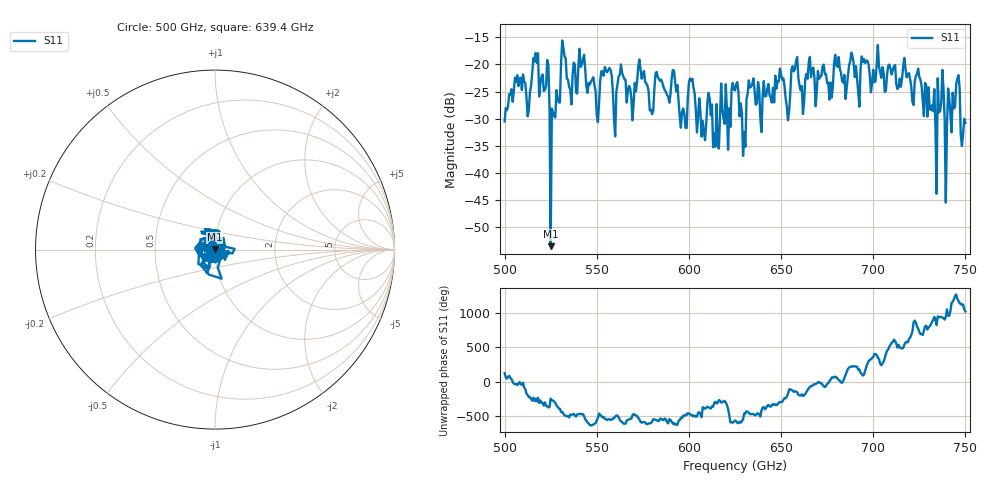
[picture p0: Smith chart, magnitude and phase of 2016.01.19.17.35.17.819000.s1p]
!Created with skrf (http://scikit-rf.org).
# GHz S RI R 50.0
!freq ReS11 ImS11
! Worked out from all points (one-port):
!   401 points, 500 GHz to 750 GHz, reference 50 ohm
!   lowest |S11| = -53.5 dB at 525 GHz (marker M1), VSWR 1.00, Z = 49.9 + j0.191 ohm
!   |S11| at or under -10 dB: start of sweep to end of sweep
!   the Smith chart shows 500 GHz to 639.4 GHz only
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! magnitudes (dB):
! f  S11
! 500 GHz  -30.5
! 506.9 GHz  -22.0
! 513.1 GHz  -28.4
! 516.9 GHz  -17.9
! 523.1 GHz  -19.2
! 525 GHz  -53.5
! 526.2 GHz  -28.8
! 531.2 GHz  -15.6
! 535 GHz  -24.1
! 541.9 GHz  -20.1
! 550 GHz  -29.3
! 560 GHz  -33.3
! 562.5 GHz  -21.9
! 593.8 GHz  -23.8
! 597.5 GHz  -29.0
! 601.2 GHz  -23.0
! 615 GHz  -27.3
! 625 GHz  -24.8
! 629.4 GHz  -36.8
! 633.8 GHz  -24.1
! 650 GHz  -21.9
! 653.8 GHz  -30.3
! 656.2 GHz  -20.3
! 687.5 GHz  -19.5
! 718.8 GHz  -21.9
! 733.1 GHz  -24.6
! 745.6 GHz  -22.6
! 750 GHz  -30.8
